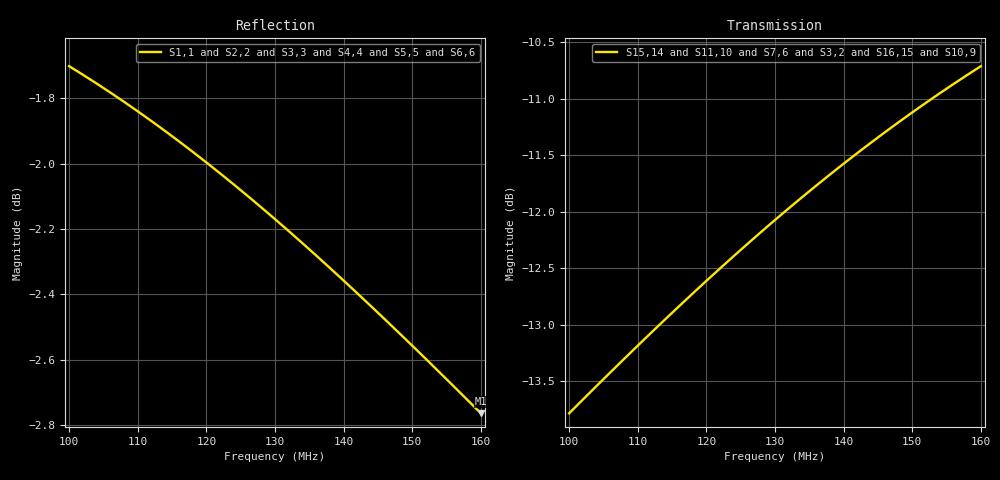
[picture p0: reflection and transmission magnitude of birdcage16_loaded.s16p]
! birdcage 16-port (gaps), rebuilt from runs/ptl_e_{em,me,mm,ee}
! rung 0 at 11.250 deg, rung n at phi0 + n*22.5 deg
# HZ S RI R 500
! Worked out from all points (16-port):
!   31 points, 100 MHz to 160 MHz, reference 500 ohm
!   strongest paths, dB at 100 MHz, 114 MHz, 130 MHz, 146 MHz, 160 MHz:
!     S15,14: -13.8, -13.0, -12.1, -11.3, -10.7
!     S11,10: -13.8, -13.0, -12.1, -11.3, -10.7
!     S7,6: -13.8, -13.0, -12.1, -11.3, -10.7
!     S3,2: -13.8, -13.0, -12.1, -11.3, -10.7
!     S16,15: -13.8, -13.0, -12.1, -11.3, -10.7
!     S10,9: -13.8, -13.0, -12.1, -11.3, -10.7
!   lowest |S11| = -2.8 dB at 160 MHz (marker M1), VSWR 6.34, Z = 90.5 + j189 ohm
!   |S11| at or under -10 dB: nowhere
